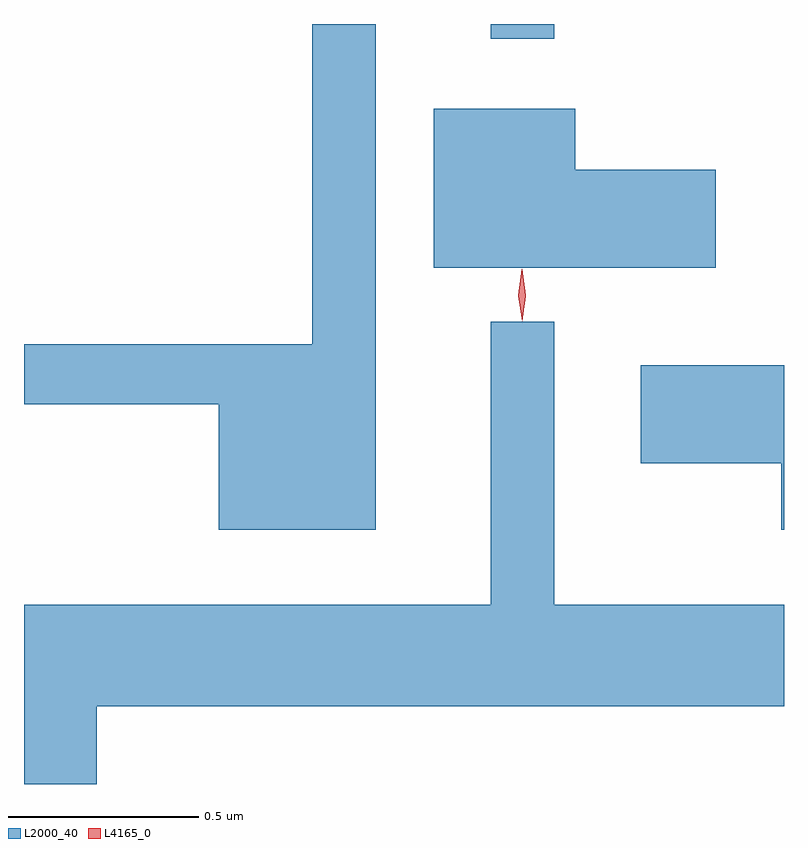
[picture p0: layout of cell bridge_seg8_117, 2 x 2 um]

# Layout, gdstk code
import gdstk
lib = gdstk.Library(unit=1e-6, precision=1e-09)
def R(c, l, rs):  # rectangles x0, y0, x1, y1
    for r in rs: c.add(gdstk.rectangle(r[:2], r[2:], *l))
def P(c, l, *ps):  # polygons
    for p in ps: c.add(gdstk.Polygon(p, *l))
L2000_40 = (2000, 40)
L4165_0 = (4165, 0)

bridge_seg8_117 = lib.new_cell('bridge_seg8_117')
R(bridge_seg8_117, L2000_40, [(1455.141,1871.473,1455.309,1871.512)])
P(bridge_seg8_117, L2000_40, [(1454.839,1871.512),(1454.671,1871.512),(1454.671,1870.669),(1453.913,1870.669),(1453.913,1870.511),(1454.426,1870.511),(1454.426,1870.181),(1454.839,1870.181)],
  [(1455.734,1871.129),(1455.364,1871.129),(1455.364,1871.289),(1454.991,1871.289),(1454.991,1870.871),(1455.734,1870.871)],
  [(1454.104,1869.716),(1455.913,1869.716),(1455.913,1869.984),(1455.309,1869.984),(1455.309,1870.728),(1455.141,1870.728),(1455.141,1869.984),(1453.913,1869.984),(1453.913,1869.512),(1454.104,1869.512)],
  [(1455.913,1870.614),(1455.536,1870.614),(1455.536,1870.356),(1455.906,1870.356),(1455.906,1870.181),(1455.913,1870.181)])
P(bridge_seg8_117, L4165_0, [(1455.224,1870.73),(1455.224,1870.73),(1455.214,1870.798),(1455.223,1870.866),(1455.223,1870.866),(1455.224,1870.866),(1455.234,1870.798),(1455.224,1870.73)],
  [(1455.224,1870.733),(1455.224,1870.733),(1455.214,1870.796),(1455.223,1870.859),(1455.223,1870.859),(1455.224,1870.859),(1455.234,1870.796),(1455.224,1870.733)])

lib.write_gds('bridge_seg8_117.gds')
